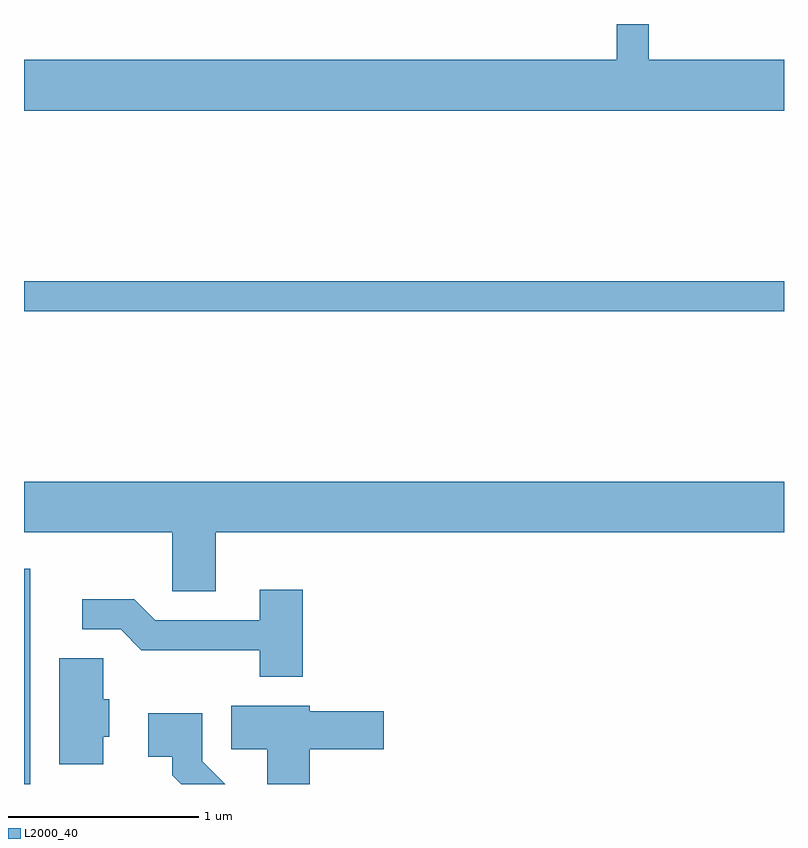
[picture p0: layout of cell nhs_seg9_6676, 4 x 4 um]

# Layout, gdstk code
import gdstk
lib = gdstk.Library(unit=1e-6, precision=1e-09)
def R(c, l, rs):  # rectangles x0, y0, x1, y1
    for r in rs: c.add(gdstk.rectangle(r[:2], r[2:], *l))
def P(c, l, *ps):  # polygons
    for p in ps: c.add(gdstk.Polygon(p, *l))
L2000_40 = (2000, 40)

nhs_seg9_6676 = lib.new_cell('nhs_seg9_6676')
R(nhs_seg9_6676, L2000_40, [(381.611,2050.432,381.644,2051.564), (381.611,2052.921,385.611,2053.079)])
P(nhs_seg9_6676, L2000_40, [(385.611,2054.244),(384.899,2054.244),(384.899,2054.432),(384.731,2054.432),(384.731,2054.244),(381.611,2054.244),(381.611,2053.976),(385.611,2053.976)],
  [(382.619,2051.756),(385.611,2051.756),(385.611,2052.024),(381.611,2052.024),(381.611,2051.756),(382.391,2051.756),(382.391,2051.446),(382.619,2051.446)],
  [(383.079,2051.454),(382.851,2051.454),(382.851,2051.294),(382.302,2051.294),(382.192,2051.404),(381.918,2051.404),(381.918,2051.246),(382.119,2051.246),(382.229,2051.136),(382.851,2051.136),(382.851,2050.996),(383.079,2050.996)],
  [(382.029,2050.681),(382.059,2050.681),(382.059,2050.879),(382.029,2050.879),(382.029,2051.094),(381.796,2051.094),(381.796,2050.536),(382.029,2050.536)],
  [(383.114,2050.616),(383.504,2050.616),(383.504,2050.814),(383.114,2050.814),(383.114,2050.844),(382.701,2050.844),(382.701,2050.616),(382.891,2050.616),(382.891,2050.432),(383.114,2050.432)],
  [(382.549,2050.552),(382.549,2050.804),(382.266,2050.804),(382.266,2050.576),(382.391,2050.576),(382.391,2050.479),(382.438,2050.432),(382.669,2050.432)])

lib.write_gds('nhs_seg9_6676.gds')
